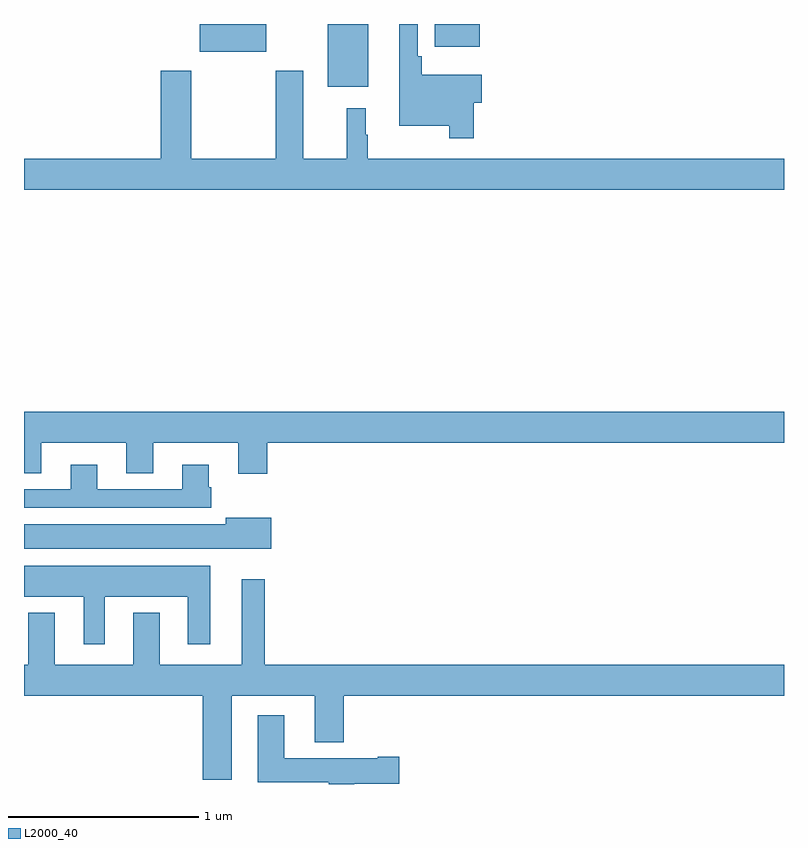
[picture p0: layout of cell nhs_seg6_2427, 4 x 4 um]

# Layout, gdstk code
import gdstk
lib = gdstk.Library(unit=1e-6, precision=1e-09)
def R(c, l, rs):  # rectangles x0, y0, x1, y1
    for r in rs: c.add(gdstk.rectangle(r[:2], r[2:], *l))
def P(c, l, *ps):  # polygons
    for p in ps: c.add(gdstk.Polygon(p, *l))
L2000_40 = (2000, 40)

nhs_seg6_2427 = lib.new_cell('nhs_seg6_2427')
R(nhs_seg6_2427, L2000_40, [(256.598,989.171,256.813,989.5), (255.926,989.354,256.276,989.5), (257.162,989.381,257.398,989.5)])
P(nhs_seg6_2427, L2000_40, [(257.366,989.086),(257.41,989.086),(257.41,989.233),(257.093,989.233),(257.093,989.329),(257.073,989.329),(257.073,989.5),(256.976,989.5),(256.976,988.964),(257.238,988.964),(257.238,988.899),(257.366,988.899)],
  [(259,988.792),(256.81,988.792),(256.81,988.916),(256.798,988.916),(256.798,989.056),(256.699,989.056),(256.699,988.792),(256.471,988.792),(256.471,989.254),(256.324,989.254),(256.324,988.792),(255.879,988.792),(255.879,989.254),(255.719,989.254),(255.719,988.792),(255,988.792),(255,988.628),(259,988.628)],
  [(256.279,987.296),(259,987.296),(259,987.46),(255,987.46),(255,987.136),(255.091,987.136),(255.091,987.296),(255.539,987.296),(255.539,987.136),(255.679,987.136),(255.679,987.296),(256.127,987.296),(256.127,987.132),(256.279,987.132)],
  [(255.986,987.063),(255.973,987.063),(255.973,987.181),(255.833,987.181),(255.833,987.051),(255.385,987.051),(255.385,987.181),(255.245,987.181),(255.245,987.051),(255,987.051),(255,986.955),(255.986,986.955)],
  [(256.3,986.902),(256.061,986.902),(256.061,986.866),(255,986.866),(255,986.738),(256.3,986.738)],
  [(255.424,986.486),(255.863,986.486),(255.863,986.235),(255.979,986.235),(255.979,986.65),(255,986.65),(255,986.486),(255.314,986.486),(255.314,986.235),(255.424,986.235)],
  [(256.093,985.964),(256.529,985.964),(256.529,985.721),(256.682,985.721),(256.682,985.964),(259,985.964),(259,986.128),(256.267,986.128),(256.267,986.578),(256.145,986.578),(256.145,986.128),(255.715,986.128),(255.715,986.401),(255.575,986.401),(255.575,986.128),(255.163,986.128),(255.163,986.401),(255.023,986.401),(255.023,986.128),(255,986.128),(255,985.964),(255.941,985.964),(255.941,985.523),(256.093,985.523)],
  [(256.739,985.502),(256.975,985.502),(256.975,985.644),(256.862,985.644),(256.862,985.636),(256.369,985.636),(256.369,985.861),(256.229,985.861),(256.229,985.508),(256.604,985.508),(256.604,985.5),(256.739,985.5)])

lib.write_gds('nhs_seg6_2427.gds')
